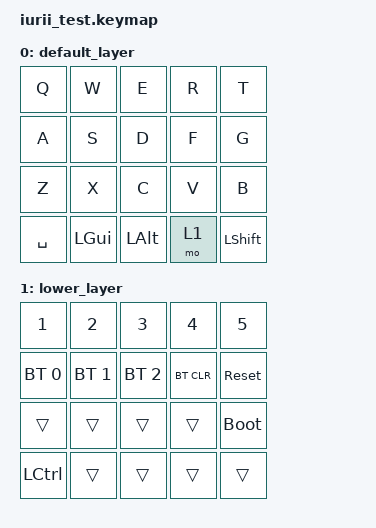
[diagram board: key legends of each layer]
#include <behaviors.dtsi>
#include <dt-bindings/zmk/keys.h>
#include <dt-bindings/zmk/bt.h>
#include <dt-bindings/zmk/reset.h>

/ {
    keymap {
        compatible = "zmk,keymap";

        default_layer {
            bindings = <
                &kp Q  &kp W  &kp E  &kp R  &kp T
                &kp A  &kp S  &kp D  &kp F  &kp G
                &kp Z  &kp X  &kp C  &kp V  &kp B
                &kp SPACE &kp LGUI &kp LALT &mo 1 &kp LSHFT
            >;
        };

        lower_layer {
            bindings = <
                &kp N1 &kp N2 &kp N3 &kp N4 &kp N5
                &bt BT_SEL 0 &bt BT_SEL 1 &bt BT_SEL 2 &bt BT_CLR &sys_reset
                &trans &trans &trans &trans &bootloader
                &kp LCTRL &trans &trans &trans &trans
            >;
        };
    };
};
